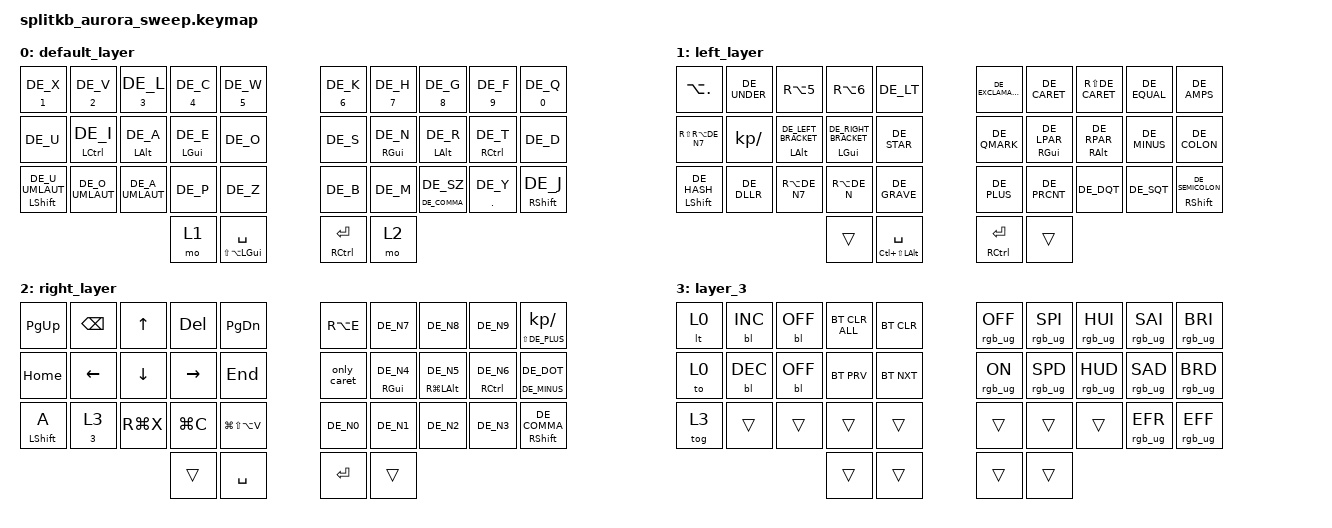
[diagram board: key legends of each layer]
/*
 * Copyright (c) 2022 The ZMK Contributors
 *
 * SPDX-License-Identifier: MIT
 */

#include "keys_de.h"
#include <behaviors.dtsi>
#include <dt-bindings/zmk/backlight.h>
#include <dt-bindings/zmk/bt.h>
#include <dt-bindings/zmk/keys.h>
#include <dt-bindings/zmk/rgb.h>

&mt {
    flavor = "tap-preferred";
    tapping_term_ms = <200>;
};

/ {
    combos {
        compatible = "zmk,combos";

        combo_esc {
            timeout-ms = <50>;
            key-positions = <0 1>;
            bindings = <&kp ESC>;
        };

        combo_tab {
            timeout-ms = <50>;
            key-positions = <10 11>;
            bindings = <&kp TAB>;
        };

        combo_ralt {
            timeout-ms = <50>;
            key-positions = <17 16>;
            bindings = <&kp RALT>;
        };

        combo_lalt {
            timeout-ms = <50>;
            key-positions = <8 9>;
            bindings = <&kp BACKSPACE>;
        };

        Layer3 {
            bindings = <&ts 3 3>;
            key-positions = <33 30>;
        };
    };

    behaviors {
        hm: homerow_mods {
            compatible = "zmk,behavior-hold-tap";
            label = "HOMEROW_MODS";
            #binding-cells = <2>;
            tapping-term-ms = <200>;
            quick_tap_ms = <0>;
            flavor = "tap-preferred";
            bindings = <&kp>, <&kp>;
        };

        ts: ts {
            compatible = "zmk,behavior-hold-tap";
            label = "TS";
            bindings = <&lt>, <&to>;

            #binding-cells = <2>;
            tapping-term-ms = <200>;
            require-prior-idle-ms = <0>;
        };
    };

    macros {
        only_caret: only_caret {
            compatible = "zmk,behavior-macro";
            #binding-cells = <0>;
            bindings = <&kp DE_LT &kp DE_SPACE>;
            label = "ONLY_CARET";
        };
    };

    keymap {
        compatible = "zmk,keymap";

        default_layer {
            bindings = <
&mt NUMBER_1 DE_X      &mt NUMBER_2 DE_V           &mt NUMBER_3 DE_L  &mt NUMBER_4 DE_C  &mt NUMBER_5 DE_W    &mt NUMBER_6 DE_K  &mt N7 DE_H    &mt NUMBER_8 DE_G   &mt NUMBER_9 DE_F  &mt NUMBER_0 DE_Q
&kp DE_U               &hm LCTRL DE_I              &hm LALT DE_A      &hm LGUI DE_E      &kp DE_O             &kp DE_S           &hm RGUI DE_N  &hm LALT DE_R       &hm RCTRL DE_T     &kp DE_D
&mt LSHFT DE_U_UMLAUT  &kp DE_O_UMLAUT             &kp DE_A_UMLAUT    &kp DE_P           &kp DE_Z             &kp DE_B           &kp DE_M       &mt DE_COMMA DE_SZ  &mt DOT DE_Y       &mt RSHFT DE_J
&mo 1                  &mt LS(LA(LEFT_GUI)) SPACE                                                                                                                   &mt RCTRL RET      &mo 2
            >;
        };

        left_layer {
            bindings = <
&kp LA(DOT)        &kp DE_UNDER            &kp RA(NUMBER_5)          &kp RA(N6)                 &kp DE_LT       &kp DE_EXCLAMATION  &kp DE_CARET      &kp RS(DE_CARET)  &kp DE_EQUAL   &kp DE_AMPS
&kp RS(RA(DE_N7))  &kp KP_SLASH            &hm LALT DE_LEFT_BRACKET  &hm LGUI DE_RIGHT_BRACKET  &kp DE_STAR     &kp DE_QMARK        &hm RGUI DE_LPAR  &hm RALT DE_RPAR  &kp DE_MINUS   &kp DE_COLON
&mt LSHFT DE_HASH  &kp DE_DLLR             &kp RA(DE_N7)             &kp RA(DE_N)               &kp DE_GRAVE    &kp DE_PLUS         &kp DE_PRCNT      &kp DE_DQT        &kp DE_SQT     &mt RSHFT DE_SEMICOLON
&trans             &mt LC(LS(LALT)) SPACE                                                                                                                               &mt RCTRL RET  &trans
            >;
        };

        //  1234589

        right_layer {
            bindings = <
&kp PG_UP    &kp BSPC   &kp UP     &kp DEL    &kp PG_DN            &kp RA(E)    &kp DE_N7            &kp DE_N8           &kp DE_N9        &mt LS(DE_PLUS) KP_SLASH
&kp HOME     &kp LEFT   &kp DOWN   &kp RIGHT  &kp END              &only_caret  &hm RIGHT_GUI DE_N4  &hm RG(LALT) DE_N5  &hm RCTRL DE_N6  &mt DE_MINUS DE_DOT
&mt LSHFT A  &ts 3 3    &kp RG(X)  &kp LG(C)  &kp LG(LS(LA(V)))    &kp DE_N0    &kp DE_N1            &kp DE_N2           &kp DE_N3        &mt RSHIFT DE_COMMA
&trans       &kp SPACE                                                                                                   &kp RET          &trans
            >;
        };

        layer_3 {
            bindings = <
&ts 0 0  &bl BL_INC  &bl BL_OFF  &bt BT_CLR_ALL  &bt BT_CLR    &rgb_ug RGB_OFF  &rgb_ug RGB_SPI  &rgb_ug RGB_HUI  &rgb_ug RGB_SAI  &rgb_ug RGB_BRI
&to 0    &bl BL_DEC  &bl BL_OFF  &bt BT_PRV      &bt BT_NXT    &rgb_ug RGB_ON   &rgb_ug RGB_SPD  &rgb_ug RGB_HUD  &rgb_ug RGB_SAD  &rgb_ug RGB_BRD
&tog 3   &trans      &trans      &trans          &trans        &trans           &trans           &trans           &rgb_ug RGB_EFR  &rgb_ug RGB_EFF
&trans   &trans                                                                                                   &trans           &trans
            >;
        };
    };
};
